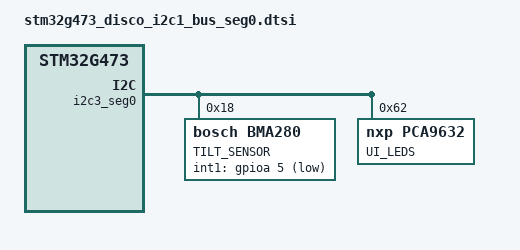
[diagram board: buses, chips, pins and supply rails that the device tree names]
/*
 * Copyright (c) 2020 Rohan Dey
 *
 * SPDX-License-Identifier: Apache-2.0
 */

&i2c3_seg0 {
  bma253@18 {
    compatible = "bosch,bma280";
    reg = <0x18>;
    label = "TILT_SENSOR";
    int1-gpios = <&gpioa 5 GPIO_ACTIVE_LOW>;
  };
  
  led_drv: pca9632@62 {
    compatible = "nxp,pca9632";
    reg = <0x62>;
    label = "UI_LEDS";
    #pwm-cells = <1>;
  };
  
};
